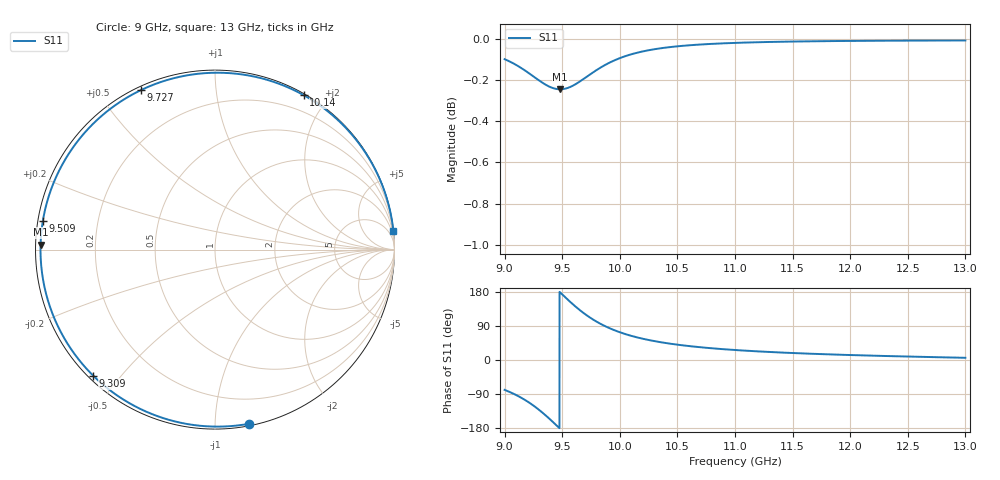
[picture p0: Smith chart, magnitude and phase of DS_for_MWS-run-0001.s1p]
! TOUCHSTONE file generated by CST DESIGN STUDIO
! Date and time: Tue Feb  4 14:24:04 2025
! Project name: C:\Work\MatlabApps\UnitCellOptimizationMatlab\CST\unitcell.cst
! Tree item: Tasks\Sweep1\SPara1\S-Parameters
! Header version: 2024
! Port assignment regex: !\s*Touchstone port\s*([0-9]+)\s*=\s*(CST MWS port|CST DES external port|CST DES block port)\s*(.+)\s* \(\"(.*)\"\)(\s*mode\s*([0-9]+))?.*
! Touchstone port assignment:
! Touchstone port 1 = CST DES external port 1 ("")
# GHz S MA R 50
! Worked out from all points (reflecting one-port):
!   4001 points, 9 GHz to 13 GHz, reference 50 ohm
!   lowest |S11| = -0.2 dB at 9.482 GHz (marker M1), VSWR 71.08, Z = 0.704 + j0.73 ohm
!   phase of S11 starts at -79 deg and turns -275 deg over the sweep
!   S11 on the Smith chart (normalised r, x): 9 GHz: 0.01, -1.22; 9.309 GHz: 0.01, -0.42; 9.509 GHz: 0.01, +0.08; 9.727 GHz: 0.01, +0.64; 10.14 GHz: 0.02, +1.73; 13 GHz: 0, +20
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9  0.9888 -78.8
9.077  0.9864 -89.0
9.175  0.9826 -105.1
9.244  0.9796 -118.9
9.309  0.9767 -134.0
9.355  0.9748 -145.8
9.403  0.9733 -158.9
9.443  0.9725 -170.4
9.482  0.9723 178.3
9.5  0.9723 173.1
9.509  0.9724 170.5
9.562  0.9733 155.4
9.622  0.9753 139.4
9.674  0.9774 126.6
9.727  0.9797 114.9
9.782  0.9821 104.1
9.843  0.9845 93.8
9.92  0.9871 82.7
10  0.9894 73.3
10.145  0.9923 60.1
10.306  0.9944 49.5
10.5  0.9959 40.4
10.722  0.997 33.0
11  0.9978 26.4
11.5  0.9986 18.4
12  0.9989 13.1
12.5  0.9991 9.1
13  0.9992 5.8
